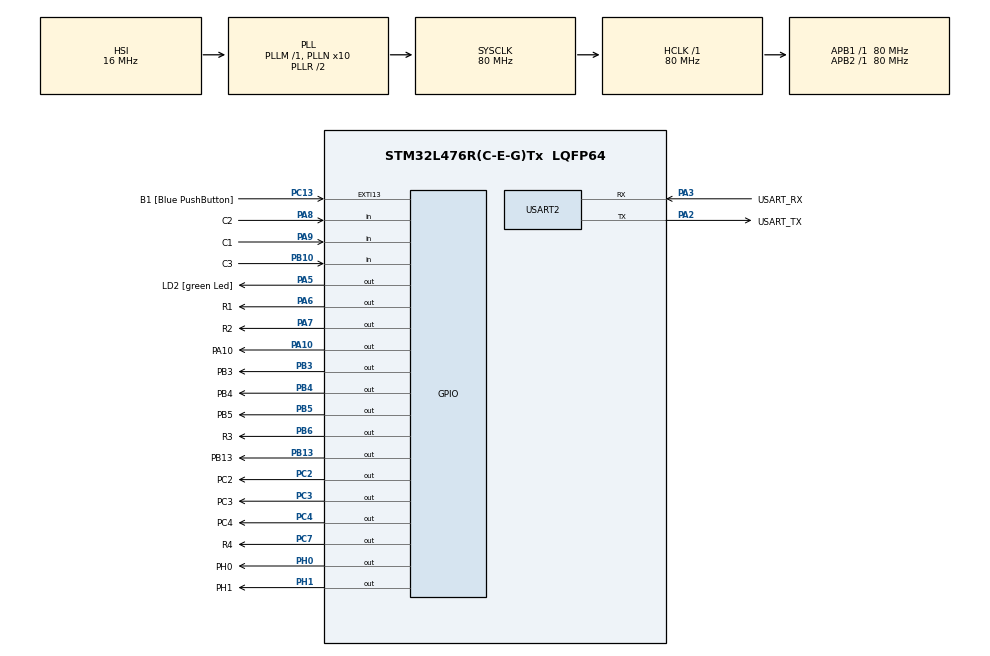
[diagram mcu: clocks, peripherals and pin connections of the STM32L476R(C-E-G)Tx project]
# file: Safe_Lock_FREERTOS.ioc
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FREERTOS.Tasks01=Key_board,-3,128,StartDefaultTask,Default,NULL,Dynamic,NULL,NULL;Lock,-3,128,StartTask02,Default,NULL,Dynamic,NULL,NULL
Mcu.Family=STM32L4
Mcu.Name=STM32L476R(C-E-G)Tx
Mcu.Package=LQFP64
NVIC.PriorityGroup=NVIC_PRIORITYGROUP_4
PA10.GPIO_Label=PA10
PA10.Signal=GPIO_Output
PA13\ (JTMS-SWDIO).GPIO_Label=TMS
PA13\ (JTMS-SWDIO).Mode=Serial_Wire
PA13\ (JTMS-SWDIO).Signal=SYS_JTMS-SWDIO
PA14\ (JTCK-SWCLK).GPIO_Label=TCK
PA14\ (JTCK-SWCLK).Mode=Serial_Wire
PA14\ (JTCK-SWCLK).Signal=SYS_JTCK-SWCLK
PA2.GPIO_Label=USART_TX
PA2.GPIO_Mode=GPIO_MODE_AF_PP
PA2.GPIO_PuPd=GPIO_NOPULL
PA2.GPIO_Speed=GPIO_SPEED_FREQ_VERY_HIGH
PA2.Mode=Asynchronous
PA2.Signal=USART2_TX
PA3.GPIO_Label=USART_RX
PA3.GPIO_Mode=GPIO_MODE_AF_PP
PA3.GPIO_PuPd=GPIO_NOPULL
PA3.GPIO_Speed=GPIO_SPEED_FREQ_VERY_HIGH
PA3.Mode=Asynchronous
PA3.Signal=USART2_RX
PA5.GPIO_Label=LD2 [green Led]
PA5.GPIO_ModeDefaultOutputPP=GPIO_MODE_OUTPUT_PP
PA5.GPIO_PuPd=GPIO_NOPULL
PA5.GPIO_Speed=GPIO_SPEED_FREQ_LOW
PA5.Signal=GPIO_Output
PA6.GPIO_Label=R1
PA6.Signal=GPIO_Output
PA7.GPIO_Label=R2
PA7.Signal=GPIO_Output
PA8.GPIO_Label=C2
PA8.GPIO_PuPd=GPIO_PULLUP
PA8.Signal=GPIO_Input
PA9.GPIO_Label=C1
PA9.GPIO_PuPd=GPIO_PULLUP
PA9.Signal=GPIO_Input
PB10.GPIO_Label=C3
PB10.GPIO_PuPd=GPIO_PULLUP
PB10.Signal=GPIO_Input
PB13.GPIO_Label=PB13
PB13.Signal=GPIO_Output
PB3\ (JTDO-TRACESWO).GPIO_Label=PB3
PB3\ (JTDO-TRACESWO).Signal=GPIO_Output
PB4\ (NJTRST).GPIO_Label=PB4
PB4\ (NJTRST).Signal=GPIO_Output
PB5.GPIO_Label=PB5
PB5.Signal=GPIO_Output
PB6.GPIO_Label=R3
PB6.Signal=GPIO_Output
PC13.GPIO_Label=B1 [Blue PushButton]
PC13.GPIO_ModeDefaultEXTI=GPIO_MODE_IT_FALLING
PC13.GPIO_PuPd=GPIO_NOPULL
PC13.Signal=GPXTI13
PC14-OSC32_IN\ (PC14).Mode=LSE-External-Oscillator
PC14-OSC32_IN\ (PC14).Signal=RCC_OSC32_IN
PC15-OSC32_OUT\ (PC15).Mode=LSE-External-Oscillator
PC15-OSC32_OUT\ (PC15).Signal=RCC_OSC32_OUT
PC2.GPIO_Label=PC2
PC2.Signal=GPIO_Output
PC3.GPIO_Label=PC3
PC3.Signal=GPIO_Output
PC4.GPIO_Label=PC4
PC4.Signal=GPIO_Output
PC7.GPIO_Label=R4
PC7.Signal=GPIO_Output
PH0-OSC_IN\ (PH0).GPIO_Label=PH0
PH0-OSC_IN\ (PH0).Signal=GPIO_Output
PH1-OSC_OUT\ (PH1).GPIO_Label=PH1
PH1-OSC_OUT\ (PH1).Signal=GPIO_Output
ProjectManager.HeapSize=0x200
ProjectManager.StackSize=0x400
ProjectManager.TargetToolchain=STM32CubeIDE
RCC.ADCFreq_Value=64000000
RCC.AHBFreq_Value=80000000
RCC.APB1Freq_Value=80000000
RCC.APB1TimFreq_Value=80000000
RCC.APB2Freq_Value=80000000
RCC.APB2TimFreq_Value=80000000
RCC.CortexFreq_Value=80000000
RCC.HCLKFreq_Value=80000000
RCC.HSE_VALUE=8000000
RCC.HSI_VALUE=16000000
RCC.MSI_VALUE=4000000
RCC.PLLN=10
RCC.PLLSourceVirtual=RCC_PLLSOURCE_HSI
RCC.PREFETCH_ENABLE=1
RCC.SYSCLKFreq_VALUE=80000000
RCC.SYSCLKSource=RCC_SYSCLKSOURCE_PLLCLK
RCC.USBFreq_Value=64000000
RCC.VCOOutputFreq_Value=160000000
USART2.VirtualMode-Asynchronous=VM_ASYNC
VP_FREERTOS_VS_CMSIS_V1.Mode=CMSIS_V1
board=NUCLEO-L476RG

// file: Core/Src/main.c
/* USER CODE BEGIN Header */
/**
  ******************************************************************************
  * @file           : main.c
  * @brief          : Main program body
  ******************************************************************************
  * @attention
  *
  * <h2><center>&copy; Copyright (c) 2020 STMicroelectronics.
  * All rights reserved.</center></h2>
  *
  * This software component is licensed by ST under BSD 3-Clause license,
  * the "License"; You may not use this file except in compliance with the
  * License. You may obtain a copy of the License at:
  *                        opensource.org/licenses/BSD-3-Clause
  *
  ******************************************************************************
  */
/* USER CODE END Header */
#include "main.h"
#include "cmsis_os.h"

/* USER CODE BEGIN Includes */
#include <string.h>
/* USER CODE END Includes */

UART_HandleTypeDef huart2;

osThreadId Key_boardHandle;
osThreadId LockHandle;
/* USER CODE BEGIN PV */
uint32_t start=1;			//Bandera que permite indicar el estado en el que comienzan los controladores
uint32_t p;					//Almacena el estado del botón
uint32_t marca=0;
uint32_t event=1;
int my_password[4]={2,0,2,0};
int check_password[4]={0,0,0,0};
enum states3 {SAVE,SAFE} safe_state;
enum states2 {RELEASED,WAIT,DETECT} boton_state;	//Estados controlador boton
enum states {STATE0, STATE1, STATE2, STATE3} current_state;
enum events{PREST,PRESTto,NC} new_event;
char input;
/* USER CODE END PV */

void SystemClock_Config(void);
static void MX_GPIO_Init(void);
static void MX_USART2_UART_Init(void);
void StartDefaultTask(void const * argument);
void StartTask02(void const * argument);

/* USER CODE BEGIN PFP */
void contr_password(int);
void contr_new_password(void);
char controlador_keypad(void);
char read_keypad(void);
void lock_safe(); //lock the safe
void unlock_safe(); //unlock the safe
/* USER CODE END PFP */

/* USER CODE BEGIN 0 */

// PB4 --> Dig 1
// PA10 --> Dig 2
// PC4 --> Dig 3
// Define GPIO Pins 7-Segment Display
// PB5 --> A
// PB13 --> B
// PC2 --> C
// PH1 --> D
// PH0 --> E
// PB3 --> F
// PC3 --> G
// BusOut display7Seg(PC3, PA10, PH0, PH1, PC2, PB4, PA2);
GPIO_TypeDef * segs[7] =
{
		PB5_GPIO_Port, //A
		PB13_GPIO_Port, //B
		PC2_GPIO_Port, //C
		PH1_GPIO_Port, //D
		PH0_GPIO_Port, //E
		PB3_GPIO_Port, //F
		PC3_GPIO_Port, //G
};
uint16_t Pin[7] ={
		PB5_Pin, // PA2 --> A
		PB13_Pin, // PB4 --> B
		PC2_Pin, // PC2 --> C
		PH1_Pin, // PH1 --> D
		PH0_Pin, // PH0 --> E
		PB3_Pin, // PA10 --> F
		PC3_Pin // PC3 --> G
};
void segmentos(int n[]){
	for(int i = 0; i < 7; i++)
	{
			HAL_GPIO_WritePin(segs[i], Pin[i], n[i]);
}
};
// Define Logic Anode Common Display
//                        ABCDEFG
int anodeComun[17][7] = {
{0,0,0,0,0,0,1},      // 0
{1,0,0,1,1,1,1},      // 1
{0,0,1,0,0,1,0},      // 2
{0,0,0,1,0,1,0},      // 3
{1,0,0,1,1,0,0},      // 4
{0,1,0,1,0,0,0},      // 5
{0,1,0,0,0,0,0},      // 6
{0,0,0,1,1,1,1},      // 7
{0,0,0,0,0,0,0},      // 8
{0,0,0,1,1,0,0},      // 9
{0,0,0,0,1,0,0},      // A
{1,1,0,0,0,0,0},      // B
{1,1,1,0,0,1,0},      // C
{1,0,0,0,0,1,0},      // D
{0,1,1,0,0,0,0},      // E
{0,1,1,0,1,0,0},      // F
{0,0,1,1,0,0,0} };    // P
// Define Logic Catode Comun Display
// ABCDEFG
int catodeComun[17][7] = {
{1,1,1,1,1,1,0}, // 0
{0,1,1,0,0,0,0}, // 1
{1,1,0,1,1,0,1}, // 2
{1,1,1,1,0,0,1}, // 3
{0,1,1,0,0,1,1}, // 4
{1,0,1,1,0,1,1}, // 5
{1,0,1,1,1,1,1}, // 6
{1,1,1,0,0,0,0}, // 7
{1,1,1,1,1,1,1}, // 8
{1,1,1,0,0,1,1}, // 9
{1,1,1,0,1,1,1}, // A
{0,0,1,1,1,1,1}, // B
{0,0,0,1,1,0,1}, // C
{0,1,1,1,1,0,1}, // D
{1,0,0,1,1,1,1}, // E
{1,0,0,0,1,1,1}, // F
{1,1,0,0,1,1,1}}; // P

/* USER CODE END 0 */

int main(void)
{

  /* MCU Configuration--------------------------------------------------------*/

  /* Reset of all peripherals, Initializes the Flash interface and the Systick. */
  HAL_Init();

  /* Configure the system clock */
  SystemClock_Config();

  /* Initialize all configured peripherals */
  MX_GPIO_Init();
  MX_USART2_UART_Init();
  /* USER CODE BEGIN 2 */
  HAL_GPIO_WritePin(PB4_GPIO_Port, PB4_Pin, 0);
  HAL_GPIO_WritePin(PA10_GPIO_Port, PA10_Pin, 0);
  HAL_GPIO_WritePin(PC4_GPIO_Port, PC4_Pin, 1);
  lock_safe(); //initialize the safe
  safe_state = SAVE;
  current_state = STATE0; //set the initial state
  my_password[0]=2;
  /* USER CODE END 2 */

  /* Create the thread(s) */
  /* definition and creation of Key_board */
  osThreadDef(Key_board, StartDefaultTask, osPriorityIdle, 0, 128);
  Key_boardHandle = osThreadCreate(osThread(Key_board), NULL);

  /* definition and creation of Lock */
  osThreadDef(Lock, StartTask02, osPriorityIdle, 0, 128);
  LockHandle = osThreadCreate(osThread(Lock), NULL);

  /* Start scheduler */
  osKernelStart();

  /* We should never get here as control is now taken by the scheduler */
  /* Infinite loop */
  while (1)
  {

  }
}

void SystemClock_Config(void)
{
  RCC_OscInitTypeDef RCC_OscInitStruct = {0};
  RCC_ClkInitTypeDef RCC_ClkInitStruct = {0};
  RCC_PeriphCLKInitTypeDef PeriphClkInit = {0};

  /** Initializes the RCC Oscillators according to the specified parameters
  * in the RCC_OscInitTypeDef structure.
  */
  RCC_OscInitStruct.OscillatorType = RCC_OSCILLATORTYPE_HSI;
  RCC_OscInitStruct.HSIState = RCC_HSI_ON;
  RCC_OscInitStruct.HSICalibrationValue = RCC_HSICALIBRATION_DEFAULT;
  RCC_OscInitStruct.PLL.PLLState = RCC_PLL_ON;
  RCC_OscInitStruct.PLL.PLLSource = RCC_PLLSOURCE_HSI;
  RCC_OscInitStruct.PLL.PLLM = 1;
  RCC_OscInitStruct.PLL.PLLN = 10;
  RCC_OscInitStruct.PLL.PLLP = RCC_PLLP_DIV7;
  RCC_OscInitStruct.PLL.PLLQ = RCC_PLLQ_DIV2;
  RCC_OscInitStruct.PLL.PLLR = RCC_PLLR_DIV2;
  if (HAL_RCC_OscConfig(&RCC_OscInitStruct) != HAL_OK)
  {
    Error_Handler();
  }
  /** Initializes the CPU, AHB and APB buses clocks
  */
  RCC_ClkInitStruct.ClockType = RCC_CLOCKTYPE_HCLK|RCC_CLOCKTYPE_SYSCLK
                              |RCC_CLOCKTYPE_PCLK1|RCC_CLOCKTYPE_PCLK2;
  RCC_ClkInitStruct.SYSCLKSource = RCC_SYSCLKSOURCE_PLLCLK;
  RCC_ClkInitStruct.AHBCLKDivider = RCC_SYSCLK_DIV1;
  RCC_ClkInitStruct.APB1CLKDivider = RCC_HCLK_DIV1;
  RCC_ClkInitStruct.APB2CLKDivider = RCC_HCLK_DIV1;

  if (HAL_RCC_ClockConfig(&RCC_ClkInitStruct, FLASH_LATENCY_4) != HAL_OK)
  {
    Error_Handler();
  }
  PeriphClkInit.PeriphClockSelection = RCC_PERIPHCLK_USART2;
  PeriphClkInit.Usart2ClockSelection = RCC_USART2CLKSOURCE_PCLK1;
  if (HAL_RCCEx_PeriphCLKConfig(&PeriphClkInit) != HAL_OK)
  {
    Error_Handler();
  }
  /** Configure the main internal regulator output voltage
  */
  if (HAL_PWREx_ControlVoltageScaling(PWR_REGULATOR_VOLTAGE_SCALE1) != HAL_OK)
  {
    Error_Handler();
  }
}

static void MX_USART2_UART_Init(void)
{

  huart2.Instance = USART2;
  huart2.Init.BaudRate = 115200;
  huart2.Init.WordLength = UART_WORDLENGTH_8B;
  huart2.Init.StopBits = UART_STOPBITS_1;
  huart2.Init.Parity = UART_PARITY_NONE;
  huart2.Init.Mode = UART_MODE_TX_RX;
  huart2.Init.HwFlowCtl = UART_HWCONTROL_NONE;
  huart2.Init.OverSampling = UART_OVERSAMPLING_16;
  huart2.Init.OneBitSampling = UART_ONE_BIT_SAMPLE_DISABLE;
  huart2.AdvancedInit.AdvFeatureInit = UART_ADVFEATURE_NO_INIT;
  if (HAL_UART_Init(&huart2) != HAL_OK)
  {
    Error_Handler();
  }

}

static void MX_GPIO_Init(void)
{
  GPIO_InitTypeDef GPIO_InitStruct = {0};

  /* GPIO Ports Clock Enable */
  __HAL_RCC_GPIOC_CLK_ENABLE();
  __HAL_RCC_GPIOH_CLK_ENABLE();
  __HAL_RCC_GPIOA_CLK_ENABLE();
  __HAL_RCC_GPIOB_CLK_ENABLE();

  /*Configure GPIO pin Output Level */
  HAL_GPIO_WritePin(GPIOH, PH0_Pin|PH1_Pin, GPIO_PIN_RESET);

  /*Configure GPIO pin Output Level */
  HAL_GPIO_WritePin(GPIOC, PC2_Pin|PC3_Pin|PC4_Pin|R4_Pin, GPIO_PIN_RESET);

  /*Configure GPIO pin Output Level */
  HAL_GPIO_WritePin(GPIOA, LD2_Pin|R1_Pin|R2_Pin|PA10_Pin, GPIO_PIN_RESET);

  /*Configure GPIO pin Output Level */
  HAL_GPIO_WritePin(GPIOB, PB13_Pin|PB3_Pin|PB4_Pin|PB5_Pin
                          |R3_Pin, GPIO_PIN_RESET);

  /*Configure GPIO pin : B1_Pin */
  GPIO_InitStruct.Pin = B1_Pin;
  GPIO_InitStruct.Mode = GPIO_MODE_IT_FALLING;
  GPIO_InitStruct.Pull = GPIO_NOPULL;
  HAL_GPIO_Init(B1_GPIO_Port, &GPIO_InitStruct);

  /*Configure GPIO pins : PH0_Pin PH1_Pin */
  GPIO_InitStruct.Pin = PH0_Pin|PH1_Pin;
  GPIO_InitStruct.Mode = GPIO_MODE_OUTPUT_PP;
  GPIO_InitStruct.Pull = GPIO_NOPULL;
  GPIO_InitStruct.Speed = GPIO_SPEED_FREQ_LOW;
  HAL_GPIO_Init(GPIOH, &GPIO_InitStruct);

  /*Configure GPIO pins : PC2_Pin PC3_Pin PC4_Pin R4_Pin */
  GPIO_InitStruct.Pin = PC2_Pin|PC3_Pin|PC4_Pin|R4_Pin;
  GPIO_InitStruct.Mode = GPIO_MODE_OUTPUT_PP;
  GPIO_InitStruct.Pull = GPIO_NOPULL;
  GPIO_InitStruct.Speed = GPIO_SPEED_FREQ_LOW;
  HAL_GPIO_Init(GPIOC, &GPIO_InitStruct);

  /*Configure GPIO pins : LD2_Pin R1_Pin R2_Pin PA10_Pin */
  GPIO_InitStruct.Pin = LD2_Pin|R1_Pin|R2_Pin|PA10_Pin;
  GPIO_InitStruct.Mode = GPIO_MODE_OUTPUT_PP;
  GPIO_InitStruct.Pull = GPIO_NOPULL;
  GPIO_InitStruct.Speed = GPIO_SPEED_FREQ_LOW;
  HAL_GPIO_Init(GPIOA, &GPIO_InitStruct);

  /*Configure GPIO pin : C3_Pin */
  GPIO_InitStruct.Pin = C3_Pin;
  GPIO_InitStruct.Mode = GPIO_MODE_INPUT;
  GPIO_InitStruct.Pull = GPIO_PULLUP;
  HAL_GPIO_Init(C3_GPIO_Port, &GPIO_InitStruct);

  /*Configure GPIO pins : PB13_Pin PB3_Pin PB4_Pin PB5_Pin
                           R3_Pin */
  GPIO_InitStruct.Pin = PB13_Pin|PB3_Pin|PB4_Pin|PB5_Pin
                          |R3_Pin;
  GPIO_InitStruct.Mode = GPIO_MODE_OUTPUT_PP;
  GPIO_InitStruct.Pull = GPIO_NOPULL;
  GPIO_InitStruct.Speed = GPIO_SPEED_FREQ_LOW;
  HAL_GPIO_Init(GPIOB, &GPIO_InitStruct);

  /*Configure GPIO pins : C2_Pin C1_Pin */
  GPIO_InitStruct.Pin = C2_Pin|C1_Pin;
  GPIO_InitStruct.Mode = GPIO_MODE_INPUT;
  GPIO_InitStruct.Pull = GPIO_PULLUP;
  HAL_GPIO_Init(GPIOA, &GPIO_InitStruct);

}

/* USER CODE BEGIN 4 */

char read_keypad(void)
{
	/* Make ROW 1 LOW and all other ROWs HIGH */
	HAL_GPIO_WritePin(R1_GPIO_Port, R1_Pin, GPIO_PIN_RESET);
	HAL_GPIO_WritePin(R2_GPIO_Port, R2_Pin, GPIO_PIN_SET);
	HAL_GPIO_WritePin(R3_GPIO_Port, R3_Pin, GPIO_PIN_SET);
	HAL_GPIO_WritePin(R4_GPIO_Port, R4_Pin, GPIO_PIN_SET);

	if(!(HAL_GPIO_ReadPin(C1_GPIO_Port, C1_Pin))) // if the col 1 is low
	{
		//while(!(HAL_GPIO_ReadPin(C1_GPIO_Port, C1_Pin)));  // wait till the button pressed
		return 1;
	}

	if(!(HAL_GPIO_ReadPin(C2_GPIO_Port, C2_Pin))) // if the col 2 is low
	{
		//while(!(HAL_GPIO_ReadPin(C2_GPIO_Port, C2_Pin)));  // wait till the button pressed
		return 2;
	}

	if(!(HAL_GPIO_ReadPin(C3_GPIO_Port, C3_Pin))) // if the col 3 is low
	{
		//while(!(HAL_GPIO_ReadPin(C3_GPIO_Port, C3_Pin)));  // wait till the button pressed
		return 3;
	}

	/* Make ROW 2 LOW and all other ROWs HIGH */
	HAL_GPIO_WritePin(R1_GPIO_Port, R1_Pin, GPIO_PIN_SET);
	HAL_GPIO_WritePin(R2_GPIO_Port, R2_Pin, GPIO_PIN_RESET);
	HAL_GPIO_WritePin(R3_GPIO_Port, R3_Pin, GPIO_PIN_SET);
	HAL_GPIO_WritePin(R4_GPIO_Port, R4_Pin, GPIO_PIN_SET);

	if(!(HAL_GPIO_ReadPin(C1_GPIO_Port, C1_Pin))) // if the col 1 is low
	{
		//while(!(HAL_GPIO_ReadPin(C1_GPIO_Port, C1_Pin)));  // wait till the button pressed
		return 4;
	}

	if(!(HAL_GPIO_ReadPin(C2_GPIO_Port, C2_Pin))) // if the col 2 is low
	{
		//while(!(HAL_GPIO_ReadPin(C2_GPIO_Port, C2_Pin)));  // wait till the button pressed
		return 5;
	}

	if(!(HAL_GPIO_ReadPin(C3_GPIO_Port, C3_Pin))) // if the col 3 is low
	{
		//while(!(HAL_GPIO_ReadPin(C3_GPIO_Port, C3_Pin)));  // wait till the button pressed
		return 6;
	}

	/* Make ROW 3 LOW and all other ROWs HIGH */
	HAL_GPIO_WritePin(R1_GPIO_Port, R1_Pin, GPIO_PIN_SET);
	HAL_GPIO_WritePin(R2_GPIO_Port, R2_Pin, GPIO_PIN_SET);
	HAL_GPIO_WritePin(R3_GPIO_Port, R3_Pin, GPIO_PIN_RESET);
	HAL_GPIO_WritePin(R4_GPIO_Port, R4_Pin, GPIO_PIN_SET);

	if(!(HAL_GPIO_ReadPin(C1_GPIO_Port, C1_Pin))) // if the col 1 is low
	{
		//while(!(HAL_GPIO_ReadPin(C1_GPIO_Port, C1_Pin)));  // wait till the button pressed
		return 7;
	}

	if(!(HAL_GPIO_ReadPin(C2_GPIO_Port, C2_Pin))) // if the col 2 is low
	{
		//while(!(HAL_GPIO_ReadPin(C2_GPIO_Port, C2_Pin)));  // wait till the button pressed
		return 8;
	}

	if(!(HAL_GPIO_ReadPin(C3_GPIO_Port, C3_Pin))) // if the col 3 is low
	{
		//while(!(HAL_GPIO_ReadPin(C3_GPIO_Port, C3_Pin)));  // wait till the button pressed
		return 9;
	}

	/* Make ROW 4 LOW and all other ROWs HIGH */
	HAL_GPIO_WritePin(R1_GPIO_Port, R1_Pin, GPIO_PIN_SET);
	HAL_GPIO_WritePin(R2_GPIO_Port, R2_Pin, GPIO_PIN_SET);
	HAL_GPIO_WritePin(R3_GPIO_Port, R3_Pin, GPIO_PIN_SET);
	HAL_GPIO_WritePin(R4_GPIO_Port, R4_Pin, GPIO_PIN_RESET);

	if(!(HAL_GPIO_ReadPin(C1_GPIO_Port, C1_Pin))) // if the col 1 is low
	{
		//while(!(HAL_GPIO_ReadPin(C1_GPIO_Port, C1_Pin)));  // wait till the button pressed
		return '#';
	}

	if(!(HAL_GPIO_ReadPin(C2_GPIO_Port, C2_Pin))) // if the col 2 is low
	{
		//while(!(HAL_GPIO_ReadPin(C2_GPIO_Port, C2_Pin)));  // wait till the button pressed
		return 0;
	}

	if(!(HAL_GPIO_ReadPin(C3_GPIO_Port, C3_Pin))) // if the col 3 is low
	{
		//while(!(HAL_GPIO_ReadPin(C3_GPIO_Port, C3_Pin))){};  // wait till the button pressed
		return '*';
	}

	return 'F';
}
uint32_t volatile antire=0;			//Contador que indica cuando se cumplio el antirrebote
int dato;
char controlador_keypad(void){
	if (start==1){			//Cuando la funcion se ejecuta por primera vez:
		boton_state=WAIT;	//Se pone el estado en OFF
		start=0;
	}

	input=read_keypad();	//Se lee el estado del boton
	if(input == 'F'){
		p=1;
	}
	else
	{
		p=0;
	}
		switch(boton_state){	//Cambio de estados boton
			case DETECT:		//Se detecto un touch
				switch (p){		//Si el boton esta presionado
				case(0):
					input='F';
					antire+=1;	//Aumente el contador en 1
					break;
				case (1):		//Si el boton no esta presionado
					if (antire>50){//Si el boton paso mas de 50 ms presionado (no es un rebote)
						boton_state=RELEASED;	//pase al estado liberado
					}else{boton_state=WAIT;}	//Si no pase al estado de espera
					break;
				}
				break;
			case RELEASED://El boton fue presionado y liberado
				event=0;	//Se envia el evento al controlador del led
				antire=0;	//Se reinicia la variable del antirrebote
				boton_state=WAIT;//Se pasa al estado de espera
				input=dato;
				break;
			case WAIT:		//Espera a detectar un touch
				switch (p){
				case(0)://Si el boton es presionado pase al estado detect
					dato=input;
					input='F';
					boton_state=DETECT;
					break;
				case (1)://Si no esta presionado no haga nada
					break;
				}
				break;
			default:

				break;

		}

		return input;//se entrega valor
}
static uint32_t con=0;
uint32_t t_step=0;
uint32_t to=5000;
void contr_password(int input){

		if (start==1){			//Cuando la funcion se ejecuta por primera vez:
			current_state = STATE0;	//Se pone el estado en OFF
			start=0;			//Y se cambia la bandera para no volver a ejecutar esto
		}

		#define MAX_STATES 4
		#define MAX_EVENTS 3
		typedef void (*transition)();
		void step0(){	//Accion de apagar el led
			current_state = STATE1;
			check_password[0]=input;
			segmentos(anodeComun[input]);
			t_step=HAL_GetTick();	//Guarda el tiempo actual
		}
		void step1(){	//Accion de apagar el led
			current_state = STATE2;
			check_password[1]=input;
			segmentos(anodeComun[input]);
			t_step=HAL_GetTick();	//Guarda el tiempo actual
		}
		void step2(){	//Accion de apagar el led
			current_state = STATE3;
			check_password[2]=input;
			segmentos(anodeComun[input]);
			t_step=HAL_GetTick();	//Guarda el tiempo actual
		}
		void step3(){//Accion de encender el led
			  check_password[3]=input;
			  segmentos(anodeComun[input]);
			  HAL_Delay(500);	        //Delay
			  contr_new_password();
		}
		void error(){
			lock_safe();
			segmentos(anodeComun[15]);
			current_state= STATE0;
		}

		transition state_table[MAX_STATES][MAX_EVENTS] = {
				{step0,step0,error},//almacenar
				{step1,step0,error},//almacenar
				{step2,step0,error},//almacenar
				{step3,step0,error}//verificar
		};
		if (event==0){	//Si se presiono el boton
			event=1;	//Limpie la bandera del boton
			con=HAL_GetTick();	//Lea el tiempo actual
			if(con<(t_step+to)){	//Si ha transcurrido menos de un tiempo limite entre
				  new_event=PREST;	//cada cambio de estado, presente el evento
			  }
			else{
				 new_event=PRESTto;
			 }
		}
		else{new_event=NC;}		//Nada cambio
		if ((new_event >= 0) && (new_event < MAX_EVENTS)	//El evento actual esta entre los eventos que se crearon
				&& (current_state >= 0) && (current_state < MAX_STATES)) {//El estado actual esta entre los eventos que se crearon
		/* call the transition function */
			state_table[current_state][new_event]();//Se ejecuta la tabla de estados usando el evento y estado actual
		}
		else {/* invalid event/state - handle appropriately */
	}
}
void contr_new_password(void)
{
	switch(safe_state){
		case SAFE:
			my_password[0]=check_password[0];
			my_password[1]=check_password[1];
			my_password[2]=check_password[2];
			my_password[3]=check_password[3];
			lock_safe();
			segmentos(anodeComun[14]);
			safe_state=SAVE;
			break;
		case SAVE:
			if(!memcmp(check_password,my_password,sizeof(int)*4)){
				unlock_safe();
				segmentos(anodeComun[10]);
				safe_state=SAFE;
				current_state= STATE0;
			}
			else{
				lock_safe();
				segmentos(anodeComun[15]);
				safe_state=SAVE;
				current_state= STATE0;
			}
			break;
	}
}
void lock_safe(void)
{
	HAL_GPIO_WritePin(LD2_GPIO_Port, LD2_Pin, GPIO_PIN_RESET);
}

void unlock_safe(void)
{
	HAL_GPIO_WritePin(LD2_GPIO_Port, LD2_Pin, GPIO_PIN_SET);
}
/* USER CODE END 4 */

void StartDefaultTask(void const * argument)
{
  /* USER CODE BEGIN 5 */
  /* Infinite loop */
  for(;;)
  {
	input = controlador_keypad();
    osDelay(1);
  }
  /* USER CODE END 5 */
}

void StartTask02(void const * argument)
{
  /* USER CODE BEGIN StartTask02 */
  /* Infinite loop */
  for(;;)
  {
	if(input != 'F')
	{
		contr_password(input);
	}
    osDelay(1);
  }
  /* USER CODE END StartTask02 */
}

void Error_Handler(void)
{
}

/************************ (C) COPYRIGHT STMicroelectronics *****END OF FILE****/
